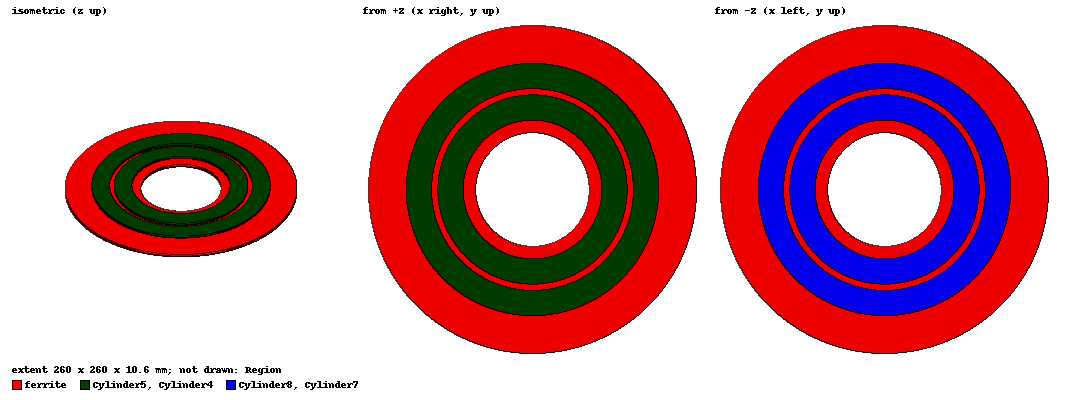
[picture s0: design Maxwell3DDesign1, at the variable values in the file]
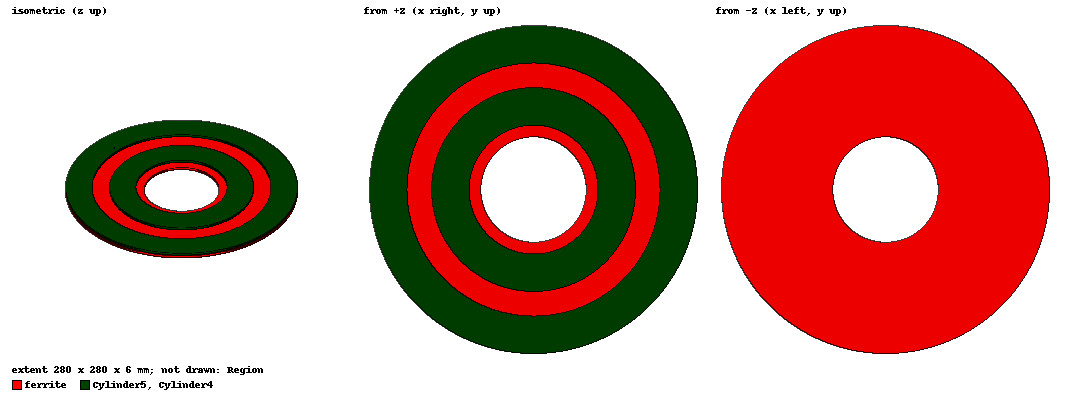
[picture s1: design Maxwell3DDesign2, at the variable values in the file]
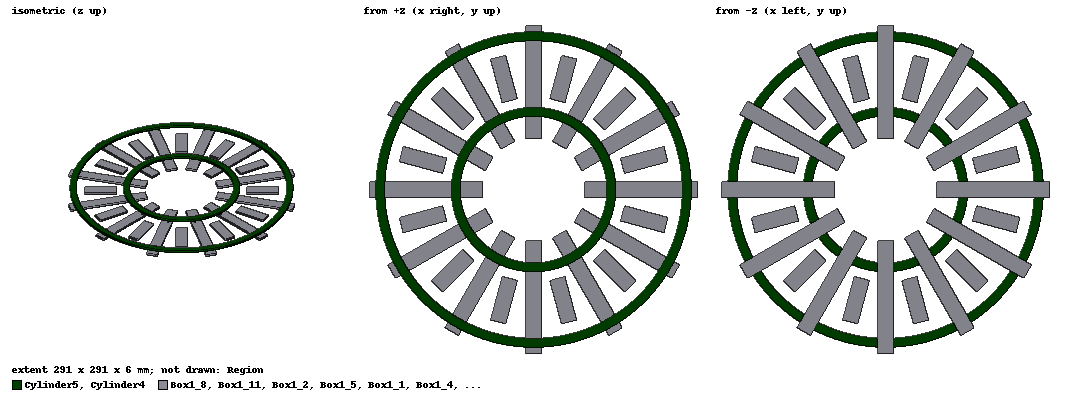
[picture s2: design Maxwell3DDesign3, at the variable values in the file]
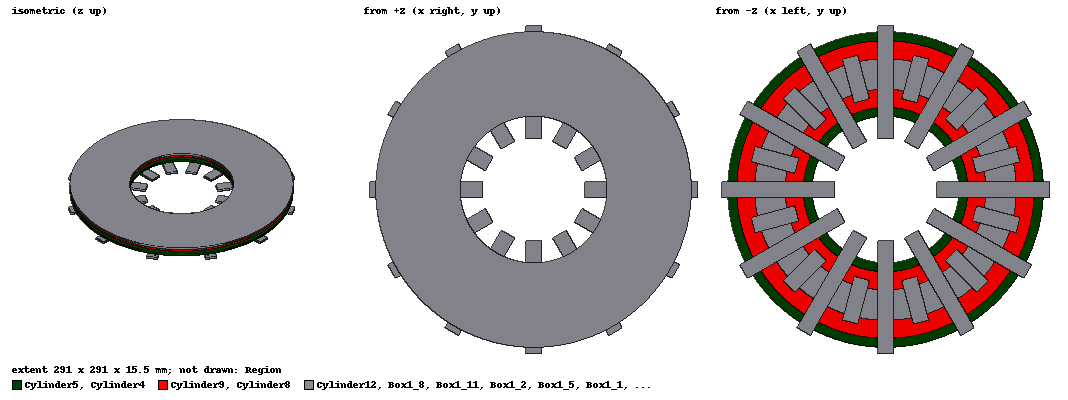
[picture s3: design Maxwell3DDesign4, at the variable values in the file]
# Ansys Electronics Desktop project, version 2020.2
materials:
  vacuum: permittivity=1
  copper: permeability=0.999991 conductivity=58000000
  ferrite: permittivity=12 permeability=1000 conductivity=0.01

design Maxwell3DDesign1 (Maxwell 3D, Magnetostatic, model units mm)
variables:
  ferrite_height = 2.6mm
  r_inner_ferrite = 45mm
  r_outer_ferrite = 130mm
  airgap_r2s = 2mm
  r_inner_inner_rs = 55mm
  ch = 2mm
  Np_inner = 10
  r_inner_outer_rs = r_inner_inner_rs+Ns_inner*ch
  r_outer_inner_rs = r_outer_outer_rs-Ns_outer*ch
  r_outer_outer_rs = 100mm
  Np_outer = 10
  airgap_r2p = 2mm
  r_inner_outer_rp = r_inner_inner_rp+Np_inner*ch
  r_inner_inner_rp = r_inner_inner_rs
  r_outer_outer_rp = r_outer_outer_rs
  r_outer_inner_rp = r_outer_outer_rp-Np_outer*ch
  Ns_inner = 10
  Ns_outer = 10
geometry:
  Cylinder1 = cylinder(axis=Z, base_centre=(0mm, 0mm, -ferrite_height/2), radius=r_inner_ferrite, height=ferrite_height)
  ferrite [ferrite] = cylinder(axis=Z, base_centre=(0mm, 0mm, -ferrite_height/2), radius=r_outer_ferrite, height=ferrite_height)
  ferrite.subtract(Cylinder1)
  Cylinder3 = cylinder(axis=Z, base_centre=(0mm, 0mm, (ferrite_height/2)+airgap_r2s), radius=r_inner_inner_rs, height=ch)
  Cylinder4 [copper] = cylinder(axis=Z, base_centre=(0mm, 0mm, (ferrite_height/2)+airgap_r2s), radius=r_inner_outer_rs, height=ch)
  Cylinder4.subtract(Cylinder3)
  Cylinder5 [copper] = cylinder(axis=Z, base_centre=(0mm, 0mm, (ferrite_height/2)+airgap_r2s), radius=r_outer_outer_rs, height=ch)
  Cylinder6 = cylinder(axis=Z, base_centre=(0mm, 0mm, (ferrite_height/2)+airgap_r2s), radius=r_outer_inner_rs, height=ch)
  Cylinder5.subtract(Cylinder6)
  inner_rs [copper] = Cylinder4.section(plane=YZ)
  outer_rs [copper] = Cylinder5.section(plane=YZ)
  inner_rs.separate_bodies()
  outer_rs.separate_bodies()
  Cylinder7 [copper] = cylinder(axis=Z, base_centre=(0mm, 0mm, -(ferrite_height/2)-airgap_r2p), radius=r_inner_outer_rp, height=-ch)
  Cylinder9 = cylinder(axis=Z, base_centre=(0mm, 0mm, -(ferrite_height/2)-airgap_r2p), radius=r_inner_inner_rp, height=-ch)
  Cylinder7.subtract(Cylinder9)
  Cylinder8 [copper] = cylinder(axis=Z, base_centre=(0mm, 0mm, -(ferrite_height/2)-airgap_r2p), radius=r_outer_outer_rp, height=-ch)
  Cylinder10 = cylinder(axis=Z, base_centre=(0mm, 0mm, -(ferrite_height/2)-airgap_r2p), radius=r_outer_inner_rp, height=-ch)
  Cylinder8.subtract(Cylinder10)
  inner_rp [copper] = Cylinder7.section(plane=YZ)
  outer_rp [copper] = Cylinder8.section(plane=YZ)
  inner_rp.separate_bodies()
  outer_rp.separate_bodies()
  Region [vacuum] = region(absolute_offset=200mm on all sides)
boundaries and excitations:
  Insulating1: Insulating Objects=[Cylinder4, Cylinder5, Cylinder8, Cylinder7]
  ZeroTangentialHField1: Zero Tangential H Field Faces=Region.face(all 6)
  c_in_s: Current Objects=inner_rs Current=10A IsSolid=false Point_out_of_terminal=true
  c_out_s: Current Objects=outer_rs Current=10A IsSolid=false Point_out_of_terminal=false
  c_in_p: Current Objects=inner_rp Current=10A IsSolid=false Point_out_of_terminal=true
  c_out_p: Current Objects=outer_rp Current=10A IsSolid=false Point_out_of_terminal=false
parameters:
  Matrix1: Matrix c_in_p: NumberOfTurns=Np_inner; c_in_s: NumberOfTurns=Ns_inner; c_out_p: NumberOfTurns=Np_outer; c_out_s: NumberOfTurns=Ns_outer; group Group2 = c_in_p, c_out_p (1 parallel); group Group3 = c_in_s, c_out_s (1 parallel)
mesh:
  initial mesh: GlobalCurvilinear{Apply}
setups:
  Setup1: Magnetostatic MaximumPasses=10 MinimumPasses=2 MinimumConvergedPasses=1 PercentRefinement=30 PercentError=1 NonLinearResidual=0.001

design Maxwell3DDesign2 (Maxwell 3D, Magnetostatic, model units mm)
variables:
  ferrite_height = 2mm
  r_inner_ferrite = 45mm
  r_outer_ferrite = 140mm
  airgap_r2s = 2mm
  r_inner_inner_rs = 55mm
  ch = 2mm
  Np_inner = 10
  r_inner_outer_rs = r_inner_inner_rs+Ns_inner*ch
  r_outer_inner_rs = r_outer_outer_rs-Ns_outer*ch
  r_outer_outer_rs = 140mm
  Np_outer = 10
  airgap_r2p = 2mm
  r_inner_outer_rp = r_inner_inner_rp+Np_inner*ch
  r_inner_inner_rp = r_inner_inner_rs
  r_outer_outer_rp = r_outer_outer_rs
  r_outer_inner_rp = r_outer_outer_rp-Np_outer*ch
  Ns_inner = 16
  Ns_outer = 16
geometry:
  Cylinder1 = cylinder(axis=Z, base_centre=(0mm, 0mm, -ferrite_height/2), radius=r_inner_ferrite, height=ferrite_height)
  ferrite [ferrite] = cylinder(axis=Z, base_centre=(0mm, 0mm, -ferrite_height/2), radius=r_outer_ferrite, height=ferrite_height)
  ferrite.subtract(Cylinder1)
  Cylinder3 = cylinder(axis=Z, base_centre=(0mm, 0mm, (ferrite_height/2)+airgap_r2s), radius=r_inner_inner_rs, height=ch)
  Cylinder4 [copper] = cylinder(axis=Z, base_centre=(0mm, 0mm, (ferrite_height/2)+airgap_r2s), radius=r_inner_outer_rs, height=ch)
  Cylinder4.subtract(Cylinder3)
  Cylinder5 [copper] = cylinder(axis=Z, base_centre=(0mm, 0mm, (ferrite_height/2)+airgap_r2s), radius=r_outer_outer_rs, height=ch)
  Cylinder6 = cylinder(axis=Z, base_centre=(0mm, 0mm, (ferrite_height/2)+airgap_r2s), radius=r_outer_inner_rs, height=ch)
  Cylinder5.subtract(Cylinder6)
  inner_rs [copper] = Cylinder4.section(plane=YZ)
  outer_rs [copper] = Cylinder5.section(plane=YZ)
  inner_rs.separate_bodies()
  outer_rs.separate_bodies()
  Region [vacuum] = region(absolute_offset=200mm on all sides)
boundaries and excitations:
  Insulating1: Insulating Objects=[Cylinder4, Cylinder5]
  ZeroTangentialHField1: Zero Tangential H Field Faces=Region.face(all 6)
  c_in_s: Current Objects=inner_rs Current=10A IsSolid=false Point_out_of_terminal=true
  c_out_s: Current Objects=outer_rs Current=10A IsSolid=false Point_out_of_terminal=false
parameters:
  Matrix1: Matrix c_in_s: NumberOfTurns=Ns_inner; c_out_s: NumberOfTurns=Ns_outer; group Group4 = c_in_s, c_out_s (1 parallel)
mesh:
  initial mesh: GlobalCurvilinear{Apply}
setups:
  Setup1: Magnetostatic MaximumPasses=10 MinimumPasses=2 MinimumConvergedPasses=1 PercentRefinement=30 PercentError=1 NonLinearResidual=0.001

design Maxwell3DDesign3 (Maxwell 3D, Magnetostatic, model units mm)
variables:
  ferrite_height = 2mm
  r_inner_ferrite = 45mm
  r_outer_ferrite = 140mm
  airgap_r2s = 2mm
  r_inner_inner_rs = 65mm
  ch = 2mm
  Np_inner = 10
  r_inner_outer_rs = r_inner_inner_rs+Ns_inner*ch
  r_outer_inner_rs = r_outer_outer_rs-Ns_outer*ch
  r_outer_outer_rs = 140mm
  Np_outer = 10
  airgap_r2p = 2mm
  r_inner_outer_rp = r_inner_inner_rp+Np_inner*ch
  r_inner_inner_rp = r_inner_inner_rs
  r_outer_outer_rp = r_outer_outer_rs
  r_outer_inner_rp = r_outer_outer_rp-Np_outer*ch
  Ns_inner = 4
  Ns_outer = 4
  ferite_width = 14mm
  ferrite_length = 20mm
  inner_ferrite = 45.5mm
  number_ferrite = 5
  number_ferrite2 = 2
  inner_ferrite2 = 81.6mm
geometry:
  Cylinder3 = cylinder(axis=Z, base_centre=(0mm, 0mm, (ferrite_height/2)+airgap_r2s), radius=r_inner_inner_rs, height=ch)
  Cylinder4 [copper] = cylinder(axis=Z, base_centre=(0mm, 0mm, (ferrite_height/2)+airgap_r2s), radius=r_inner_outer_rs, height=ch)
  Cylinder4.subtract(Cylinder3)
  Cylinder5 [copper] = cylinder(axis=Z, base_centre=(0mm, 0mm, (ferrite_height/2)+airgap_r2s), radius=r_outer_outer_rs, height=ch)
  Cylinder6 = cylinder(axis=Z, base_centre=(0mm, 0mm, (ferrite_height/2)+airgap_r2s), radius=r_outer_inner_rs, height=ch)
  Cylinder5.subtract(Cylinder6)
  inner_rs [copper] = Cylinder4.section(plane=YZ)
  outer_rs [copper] = Cylinder5.section(plane=YZ)
  inner_rs.separate_bodies()
  outer_rs.separate_bodies()
  Region [vacuum] = region(absolute_offset=200mm on all sides)
  Box1 [ferrite] = box(corner=(-ferite_width/2, inner_ferrite, -ferrite_height/2), size=(ferite_width, ferrite_length*number_ferrite, ferrite_height))
  Box2 [ferrite] = box(corner=(-ferite_width/2, inner_ferrite2, -ferrite_height/2), size=(ferite_width, ferrite_length*number_ferrite2, ferrite_height))
  Box2.rotate(axis=Z, angle=15deg)
  Box1_1..Box1_11 [ferrite] = Box1.duplicate_around_axis(axis=Z, angle=30deg, total=12)
  Box2_1..Box2_11 [ferrite] = Box2.duplicate_around_axis(axis=Z, angle=30deg, total=12)
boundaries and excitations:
  Insulating1: Insulating Objects=[Cylinder4, Cylinder5]
  ZeroTangentialHField1: Zero Tangential H Field Faces=Region.face(all 6)
  c_in_s: Current Objects=inner_rs Current=10A IsSolid=false Point_out_of_terminal=true
  c_out_s: Current Objects=outer_rs Current=10A IsSolid=false Point_out_of_terminal=false
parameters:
  Matrix1: Matrix c_in_s: NumberOfTurns=Ns_inner; c_out_s: NumberOfTurns=Ns_outer; group Group4 = c_in_s, c_out_s (1 parallel)
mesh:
  initial mesh: GlobalCurvilinear{Apply}
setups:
  Setup1: Magnetostatic MaximumPasses=10 MinimumPasses=2 MinimumConvergedPasses=1 PercentRefinement=30 PercentError=1 NonLinearResidual=0.001

design Maxwell3DDesign4 (Maxwell 3D, Magnetostatic, model units mm)
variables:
  ferrite_height = 2mm
  r_inner_ferrite = 45mm
  r_outer_ferrite = 140mm
  airgap_r2s = 2mm
  r_inner_inner_rs = 65mm
  ch = 2mm
  Np_inner = 10
  r_inner_outer_rs = r_inner_inner_rs+Ns_inner*ch
  r_outer_inner_rs = r_outer_outer_rs-Ns_outer*ch
  r_outer_outer_rs = 140mm
  Np_outer = 10
  airgap_r2p = 2mm
  r_inner_outer_rp = r_inner_inner_rp+Np_inner*ch
  r_inner_inner_rp = r_inner_inner_rs
  r_outer_outer_rp = r_outer_outer_rs
  r_outer_inner_rp = r_outer_outer_rp-Np_outer*ch
  Ns_inner = 4
  Ns_outer = 4
  ferite_width = 14mm
  ferrite_length = 20mm
  inner_ferrite = 45.5mm
  number_ferrite = 5
  number_ferrite2 = 2
  inner_ferrite2 = 81.6mm
  airgap = 10mm
  r_inner_primer = 65mm
  Nprimer = 12
  r_outer_primer = 140mm
  fh = 2mm
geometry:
  Cylinder3 = cylinder(axis=Z, base_centre=(0mm, 0mm, (ferrite_height/2)+airgap_r2s), radius=r_inner_inner_rs, height=ch)
  Cylinder4 [copper] = cylinder(axis=Z, base_centre=(0mm, 0mm, (ferrite_height/2)+airgap_r2s), radius=r_inner_outer_rs, height=ch)
  Cylinder4.subtract(Cylinder3)
  Cylinder5 [copper] = cylinder(axis=Z, base_centre=(0mm, 0mm, (ferrite_height/2)+airgap_r2s), radius=r_outer_outer_rs, height=ch)
  Cylinder6 = cylinder(axis=Z, base_centre=(0mm, 0mm, (ferrite_height/2)+airgap_r2s), radius=r_outer_inner_rs, height=ch)
  Cylinder5.subtract(Cylinder6)
  inner_rs [copper] = Cylinder4.section(plane=YZ)
  outer_rs [copper] = Cylinder5.section(plane=YZ)
  inner_rs.separate_bodies()
  outer_rs.separate_bodies()
  Region [vacuum] = region(absolute_offset=200mm on all sides)
  Box1 [ferrite] = box(corner=(-ferite_width/2, inner_ferrite, -ferrite_height/2), size=(ferite_width, ferrite_length*number_ferrite, ferrite_height))
  Box2 [ferrite] = box(corner=(-ferite_width/2, inner_ferrite2, -ferrite_height/2), size=(ferite_width, ferrite_length*number_ferrite2, ferrite_height))
  Box2.rotate(axis=Z, angle=15deg)
  Box1_1..Box1_11 [ferrite] = Box1.duplicate_around_axis(axis=Z, angle=30deg, total=12)
  Box2_1..Box2_11 [ferrite] = Box2.duplicate_around_axis(axis=Z, angle=30deg, total=12)
  Cylinder7 = cylinder(axis=Z, base_centre=(0mm, 0mm, airgap), radius=r_inner_primer, height=ch)
  Cylinder8 [copper] = cylinder(axis=Z, base_centre=(0mm, 0mm, airgap), radius=r_inner_primer+ch*Nprimer, height=ch)
  Cylinder8.subtract(Cylinder7)
  Cylinder9 [copper] = cylinder(axis=Z, base_centre=(0mm, 0mm, airgap), radius=r_outer_primer, height=ch)
  Cylinder10 = cylinder(axis=Z, base_centre=(0mm, 0mm, airgap), radius=r_outer_primer-ch*Nprimer, height=ch)
  Cylinder9.subtract(Cylinder10)
  Cylinder8_Section1 = Cylinder8.section(plane=YZ)
  Cylinder9_Section1 = Cylinder9.section(plane=YZ)
  Cylinder8_Section1.separate_bodies()
  Cylinder9_Section1.separate_bodies()
  Cylinder11 = cylinder(axis=Z, base_centre=(0mm, 0mm, airgap+2.5mm), radius=r_inner_primer, height=fh)
  Cylinder12 [ferrite] = cylinder(axis=Z, base_centre=(0mm, 0mm, airgap+2.5mm), radius=r_outer_primer, height=fh)
  Cylinder12.subtract(Cylinder11)
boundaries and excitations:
  Insulating1: Insulating Objects=[Cylinder4, Cylinder5]
  ZeroTangentialHField1: Zero Tangential H Field Faces=Region.face(all 6)
  Insulating2: Insulating Objects=[Cylinder8, Cylinder9]
  c_in_s: Current Objects=inner_rs Current=10A IsSolid=false Point_out_of_terminal=true
  c_out_s: Current Objects=outer_rs Current=10A IsSolid=false Point_out_of_terminal=false
  Current1: Current Objects=Cylinder8_Section1 Current=5A IsSolid=false Point_out_of_terminal=false
  Current2: Current Objects=Cylinder9_Section1 Current=5A IsSolid=false Point_out_of_terminal=true
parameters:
  Matrix1: Matrix c_in_s: NumberOfTurns=Ns_inner; c_out_s: NumberOfTurns=Ns_outer; Current1, Current2: NumberOfTurns=Nprimer; group Resonator = c_in_s, c_out_s (1 parallel); group Primer = Current2, Current1 (1 parallel)
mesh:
  initial mesh: GlobalCurvilinear{Apply}
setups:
  Setup1: Magnetostatic MaximumPasses=10 MinimumPasses=2 MinimumConvergedPasses=1 PercentRefinement=30 PercentError=1 NonLinearResidual=0.001
